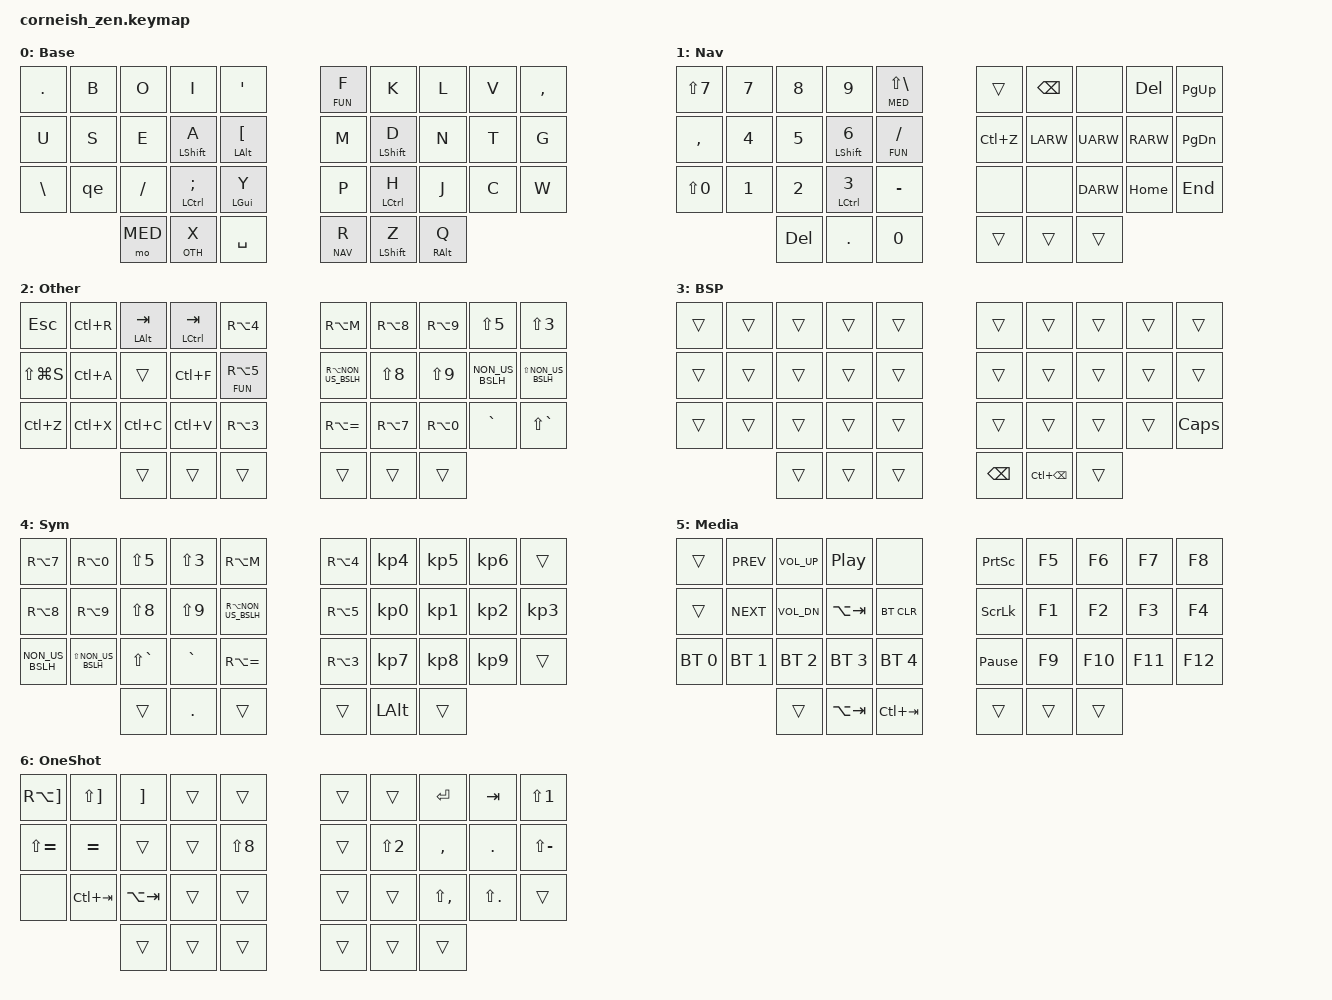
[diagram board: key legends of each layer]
#include <behaviors.dtsi>
#include <dt-bindings/zmk/keys.h>
#include <dt-bindings/zmk/bt.h>

#define NAV 1
#define OTH 2
#define BSP 3
#define SYM 4
#define MED 5
#define FUN 6


&sk {
    quick-release;
};

#define COMBO(NAME, BINDINGS, KEYPOS, MS, LAYERS) \
  combo_##NAME { \
    bindings = <BINDINGS>; \
    key-positions = <KEYPOS>; \
    timeout-ms = <MS>; \
    layers = <LAYERS>; \
  };

&lt {
    flavor = "tap-preferred";
    tapping_term_ms = <300>;
};

&mt {
    flavor = "tap-preferred";
    tapping-term-ms = <300>;
};

/ {
  chosen {
    zmk,physical-layout = &foostan_corne_5col_layout;
  };
  
/*
*                KEY POSITIONS
*    0   1   2   3   4 │ │  5   6   7   8   9
*   10  11  12  13  14 │ │ 15  16  17  18  19
*   20  21  22  23  24 │ │ 25  26  27  28  29
*           30  31  32 │ │ 33  34  35
*/
};
/ {
    combos {
        compatible = "zmk,combos";
	COMBO(ac, &kp BSPC, 3 13, 30, 1)
	COMBO(ae, &kp SEMI, 2 12, 120, 6)
	COMBO(oe, &kp SQT, 1 11, 120, 6)
	COMBO(tab, &kp TAB, 2 12, 30, 0)
	COMBO(x, &kp X, 3 13, 30, 6)
	COMBO(z, &kp Z, 6 16, 30, 6)
	COMBO(ci, &kp LS(N2), 8 18, 80, 0)
	COMBO(enter, &kp ENTER, 7 17, 30, 0 1)
	COMBO(enter1, &kp ENTER, 2 12, 30, 1)
	COMBO(q, &kp Q, 1 11, 30, 6)
	COMBO(tog, &tog 1, 30 31, 30, 0 1)  
        COMBO(rctrl, &kp RCTRL, 17 27, 30, 0)
        COMBO(rwin, &kp RGUI, 18 28, 30, 6)
	COMBO(Lpara, &kp BSPC, 5 15, 30, 0)
 	COMBO(Rpara, &kp LC(BSPC), 15 25, 60, 0 1)
	
	};        

    behaviors {
          cit: cit_rp {
            compatible = "zmk,behavior-mod-morph";
            label = "cit rp";
            #binding-cells = <0>;
            bindings = <&hmc LGUI LS(N2)>, <&kp BSLH>;
            mods = <(MOD_LSFT|MOD_RSFT)>;
        };    
          qe: qe {
            compatible = "zmk,behavior-mod-morph";
            label = "qe";
            #binding-cells = <0>;
            bindings = <&hm LALT LS(MINUS)>, <&kp LS(N1)>;
            mods = <(MOD_LSFT|MOD_RSFT)>;
	    
	};	
           hm: homerow_mods {
            compatible = "zmk,behavior-hold-tap";
            label = "homerow mods";
            #binding-cells = <2>;
            tapping_term_ms = <250>;
            flavor = "balanced";
            bindings = <&kp>, <&kp>;
        };
           hmc: homerow_modsc {
            compatible = "zmk,behavior-hold-tap";
            label = "homerow modsc";
            #binding-cells = <2>;
            tapping_term_ms = <350>;
            flavor = "tap-preferred";
            bindings = <&kp>, <&kp>;
        };
           lta: layerfun {
            compatible = "zmk,behavior-hold-tap";
            label = "layer fun";
            #binding-cells = <2>;
            tapping_term_ms = <250>;
            flavor = "balanced";
            bindings = <&mo>, <&kp>;
	};
    };        

        keymap {
                compatible = "zmk,keymap";

                default_layer {
                        display-name = "Base";
// -------------------------------------------------------------------
// |  .  |  B  |  O  |  I  |  Ø  |   |  F  |  K  |  L  |  V  |  ,  |
// |  U  |  S  |  E  |  A  |  Å  |   |  M  |  D  |  N  |  T  |  G  |
// |  '  |  ?  |  -  |  Æ  |  Y  |   |  P  |  H  |  J  |  C  |  W  |
//             | MED |OTH/X| SPC |   |  R  |Sh/Z |ALT/Q|
                        bindings = <
  &kp DOT   &kp B    &kp O      &kp  I          &kp SQT                          &lta FUN F   &kp K         &kp L  &kp V  &kp COMMA
  &kp U     &kp S    &kp E      &hm  LSHIFT A   &hmc LALT LBKT                   &kp M        &hm LSHIFT D  &kp N  &kp T  &kp G
  &kp BSLH  &qe      &kp SLASH  &hmc LCTRL SEMI &hmc LGUI  Y                     &kp P        &hmc LCTRL H  &kp J  &kp C  &kp W
                  &mo MED &lt OTH X &kp SPC                                      &lt NAV R &hm LSHIFT Z      &hmc RALT Q
                        >;
                };

        nav_layer {
            display-name = "Nav";
            bindings = <
                &kp LS(N7) &kp N7 &kp N8 &kp N9         &lt MED LS(BSLH)             &trans &kp BSPC    &none   &kp DEL  &kp PG_UP
                &kp COMMA  &kp N4 &kp N5 &hmc LSHIFT N6 &lt FUN SLASH               &kp LC(Z)    &kp LARW    &kp UARW   &kp RARW &kp PG_DN
                &kp LS(N0) &kp N1 &kp N2 &hmc LCTRL N3  &kp MINUS                   &none        &none       &kp DARW      &kp HOME &kp END
                                  &kp DEL &kp DOT  &kp N0                   &trans       &trans  &trans
            >;
        };

        other_layer {
            display-name = "Other";
            bindings = <
                &kp ESC	      &kp LC(R) &hm LALT TAB  &hm LCTRL TAB   &kp RA(N4)          &kp RA(M)           &kp RA(N8) &kp RA(N9) &kp LS(N5)      &kp LS(N3)            
                &kp LS(LG(S)) &kp LC(A) &trans        &kp LC(F) &lt FUN RA(N5)      &kp RA(NON_US_BSLH) &kp LS(N8) &kp LS(N9) &kp NON_US_BSLH &kp LS(NON_US_BSLH)   
                &kp LC(Z)     &kp LC(X) &kp LC(C)     &kp LC(V) &kp RA(N3)          &kp RA(EQUAL)       &kp RA(N7) &kp RA(N0) &kp GRAVE       &kp LS(GRAVE)    
                                               &trans       &trans          &trans        &trans           &trans &trans
            >;
        };

        spc_layer {
            display-name = "BSP";
            bindings = <
                &trans &trans  &trans    &trans     &trans         &trans       &trans          &trans  &trans  &trans
                &trans   &trans   &trans    &trans &trans            &trans &trans   &trans     &trans        &trans
                &trans    &trans &trans  &trans  &trans               &trans &trans       &trans        &trans &kp CAPS
                                        &trans   &trans        &trans          &kp BSPC    &kp LC(BSPC) &trans
            >;
        };

        sym_layer {
            display-name = "Sym";
            bindings = <
                &kp RA(N7)     &kp RA(N0)  &kp LS(N5)  &kp LS(N3) &kp RA(M)                     &kp RA(N4)   &kp KP_N4   &kp KP_N5    &kp KP_N6  &trans
                &kp RA(N8)    &kp RA(N9)  &kp LS(N8)  &kp LS(N9) &kp RA(NON_US_BSLH)           &kp RA(N5)   &kp KP_N0   &kp KP_N1    &kp KP_N2  &kp KP_N3
                &kp NON_US_BSLH    &kp LS(NON_US_BSLH)  &kp LS(GRAVE)  &kp GRAVE &kp RA(EQUAL)   &kp RA(N3)   &kp KP_N7   &kp KP_N8    &kp KP_N9  &trans
                                           &trans        &kp DOT &trans         &trans &kp LALT &trans
            >;
        };

        media_layer {
            display-name = "Media";
            bindings = <
                &trans	      &kp C_PREV    &kp C_VOL_UP &kp C_PP        &none             &kp PSCRN          &kp F5  &kp F6   &kp F7   &kp F8
                &trans        &kp C_NEXT    &kp C_VOL_DN &kp LA(TAB)     &bt BT_CLR        &kp SLCK           &kp F1  &kp F2   &kp F3   &kp F4
                &bt BT_SEL 0  &bt BT_SEL 1  &bt BT_SEL 2 &bt BT_SEL 3    &bt BT_SEL 4      &kp PAUSE_BREAK    &kp F9  &kp F10  &kp F11  &kp F12
                                              &trans    &kp LA(TAB)     &kp LC(TAB)  &trans       &trans &trans
            >;
        };

        fun_layer {
            display-name = "OneShot";
            bindings = <
                &kp RA(RBKT)  &kp LS(RBKT)   &kp RBKT      &trans     &trans        &trans          &trans     &kp ENTER     &kp TAB     &kp LS(N1)
                &kp LS(EQUAL) &kp EQUAL &trans     &trans    &kp LS(N8)        &trans          &kp LS(N2) &kp COMMA     &kp DOT     &kp LS(MINUS)
                &none         &kp LC(TAB)       &kp LA(TAB)         &trans     &trans        &trans          &trans     &kp LS(COMMA) &kp LS(DOT) &trans
                                                &trans   &trans      &trans                &trans          &trans &trans
            >;
        };
    };
};
